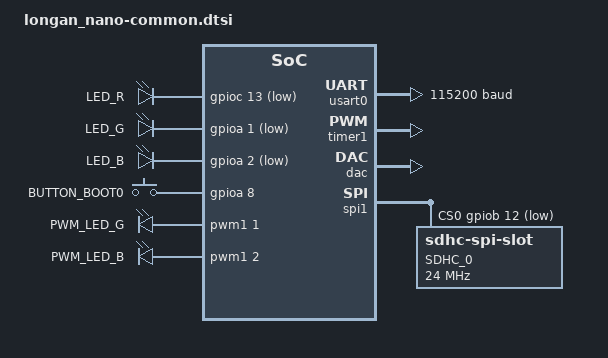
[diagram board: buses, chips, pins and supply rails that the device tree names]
/*
 * Copyright (c) 2021 Tokita, Hiroshi <tokita.hiroshi@gmail.com>
 *
 * SPDX-License-Identifier: Apache-2.0
 */

/ {
	chosen {
		zephyr,console = &usart0;
		zephyr,shell-uart = &usart0;
		zephyr,sram = &sram0;
		zephyr,flash = &flash0;
		sdhc0 = &sdhc0;
	};

	leds {
		compatible = "gpio-leds";
		led_red: led_red {
			gpios = <&gpioc 13 GPIO_ACTIVE_LOW>;
			label = "LED_R";
		};
		led_green: led_green {
			gpios = <&gpioa 1 GPIO_ACTIVE_LOW>;
			label = "LED_G";
		};
		led_blue: led_blue {
			gpios = <&gpioa 2 GPIO_ACTIVE_LOW>;
			label = "LED_B";
		};
	};

	gpio_keys {
		compatible = "gpio-keys";
		button_boot0: button_boot0 {
			label = "BUTTON_BOOT0";
			gpios = <&gpioa 8 GPIO_ACTIVE_HIGH>;
		};
	};

	pwmleds {
		compatible = "pwm-leds";

		/* NOTE: bridge TIMER1_CH1 and LED_GREEN (PA1) */
		pwm_led_green: pwm_led_green {
			pwms = <&pwm1 1 PWM_MSEC(20) PWM_POLARITY_NORMAL>;
			label = "PWM_LED_G";
		};
		/* NOTE: bridge TIMER1_CH2 and LED_BLUE (PA2) */
		pwm_led_blue: pwm_led_blue {
			pwms = <&pwm1 2 PWM_MSEC(20) PWM_POLARITY_NORMAL>;
			label = "PWM_LED_B";
		};
	};

	aliases {
		led0 = &led_red;
		led1 = &led_green;
		led2 = &led_blue;
		pwm-led0 = &pwm_led_green;
		pwm-led1 = &pwm_led_blue;
		sw0 = &button_boot0;
	};
};

&gpioa {
	status = "okay";
};

&gpiob {
	status = "okay";
};

&gpioc {
	status = "okay";
};

&usart0 {
	status = "okay";
	current-speed = <115200>;
	pinctrl-0 = <&usart0_default>;
	pinctrl-names = "default";
};

&timer1 {
	status = "okay";
	prescaler = <4096>;

	pwm1: pwm {
		status = "okay";
		pinctrl-0 = <&pwm1_default>;
		pinctrl-names = "default";
	};
};

&dac {
	status = "okay";
	pinctrl-0 = <&dac_default>;
	pinctrl-names = "default";
};

&spi1 {
	status = "okay";
	pinctrl-0 = <&spi1_default>;
	pinctrl-names = "default";

	cs-gpios = <&gpiob 12 GPIO_ACTIVE_LOW>;

	sdhc0: sdhc@0 {
		compatible = "zephyr,sdhc-spi-slot";
		reg = <0>;
		status = "okay";
		label = "SDHC_0";
		spi-max-frequency = <24000000>;
		mmc {
			compatible = "zephyr,sdmmc-disk";
			status = "okay";
		};
	};
};
